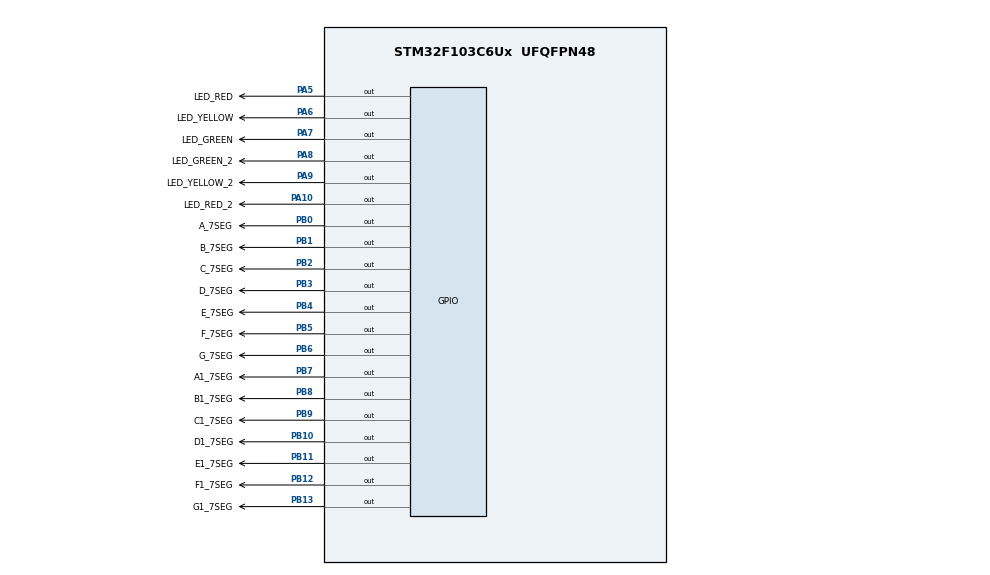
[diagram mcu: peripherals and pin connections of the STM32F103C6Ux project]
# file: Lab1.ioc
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Mcu.Family=STM32F1
Mcu.Name=STM32F103C6Ux
Mcu.Package=UFQFPN48
NVIC.PriorityGroup=NVIC_PRIORITYGROUP_4
PA10.GPIO_Label=LED_RED_2
PA10.Signal=GPIO_Output
PA5.GPIO_Label=LED_RED
PA5.Signal=GPIO_Output
PA6.GPIO_Label=LED_YELLOW
PA6.Signal=GPIO_Output
PA7.GPIO_Label=LED_GREEN
PA7.Signal=GPIO_Output
PA8.GPIO_Label=LED_GREEN_2
PA8.Signal=GPIO_Output
PA9.GPIO_Label=LED_YELLOW_2
PA9.Signal=GPIO_Output
PB0.GPIO_Label=A_7SEG
PB0.Signal=GPIO_Output
PB1.GPIO_Label=B_7SEG
PB1.Signal=GPIO_Output
PB10.GPIO_Label=D1_7SEG
PB10.Signal=GPIO_Output
PB11.GPIO_Label=E1_7SEG
PB11.Signal=GPIO_Output
PB12.GPIO_Label=F1_7SEG
PB12.Signal=GPIO_Output
PB13.GPIO_Label=G1_7SEG
PB13.Signal=GPIO_Output
PB2.GPIO_Label=C_7SEG
PB2.Signal=GPIO_Output
PB3.GPIO_Label=D_7SEG
PB3.Signal=GPIO_Output
PB4.GPIO_Label=E_7SEG
PB4.Signal=GPIO_Output
PB5.GPIO_Label=F_7SEG
PB5.Signal=GPIO_Output
PB6.GPIO_Label=G_7SEG
PB6.Signal=GPIO_Output
PB7.GPIO_Label=A1_7SEG
PB7.Signal=GPIO_Output
PB8.GPIO_Label=B1_7SEG
PB8.Signal=GPIO_Output
PB9.GPIO_Label=C1_7SEG
PB9.Signal=GPIO_Output
ProjectManager.HeapSize=0x200
ProjectManager.StackSize=0x400
ProjectManager.TargetToolchain=STM32CubeIDE
RCC.APB1Freq_Value=8000000
RCC.APB2Freq_Value=8000000
VP_SYS_VS_ND.Mode=No_Debug
board=custom

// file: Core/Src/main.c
/* USER CODE BEGIN Header */
/**
  ******************************************************************************
  * @file           : main.c
  * @brief          : Main program body
  ******************************************************************************
  * @attention
  *
  * <h2><center>&copy; Copyright (c) 2024 STMicroelectronics.
  * All rights reserved.</center></h2>
  *
  * This software component is licensed by ST under BSD 3-Clause license,
  * the "License"; You may not use this file except in compliance with the
  * License. You may obtain a copy of the License at:
  *                        opensource.org/licenses/BSD-3-Clause
  *
  ******************************************************************************
  */
/* USER CODE END Header */
#include "main.h"

/* USER CODE BEGIN PD */
#define RED 0
#define YELLOW 1
#define GREEN 2

#define RED_DURATION 9
#define YELLOW_DURATION 2
#define GREEN_DURATION 7
/* USER CODE END PD */

void display7SEG(int number);
void display7SEG_2(int number);
void setTrafficLight1(int state);
void setTrafficLight2(int state);
void updateTrafficLights(int counter1, int state1, int state2, int counter2);

void display7SEG(int number) {
    if (number < 0 || number > 9) return;

    switch (number)
        {
        case 0:
            HAL_GPIO_WritePin(GPIOB, G_7SEG_Pin, GPIO_PIN_SET);
            HAL_GPIO_WritePin(GPIOB, A_7SEG_Pin | B_7SEG_Pin | C_7SEG_Pin | D_7SEG_Pin | E_7SEG_Pin | F_7SEG_Pin, GPIO_PIN_RESET);
            break;
        case 1:
            HAL_GPIO_WritePin(GPIOB, B_7SEG_Pin | C_7SEG_Pin, GPIO_PIN_RESET);
            HAL_GPIO_WritePin(GPIOB, A_7SEG_Pin | D_7SEG_Pin | E_7SEG_Pin | F_7SEG_Pin | G_7SEG_Pin, GPIO_PIN_SET);
            break;
        case 2:
            HAL_GPIO_WritePin(GPIOB, F_7SEG_Pin | C_7SEG_Pin, GPIO_PIN_SET);
            HAL_GPIO_WritePin(GPIOB, A_7SEG_Pin | B_7SEG_Pin | D_7SEG_Pin | E_7SEG_Pin | G_7SEG_Pin, GPIO_PIN_RESET);
            break;
        case 3:
            HAL_GPIO_WritePin(GPIOB, F_7SEG_Pin | E_7SEG_Pin, GPIO_PIN_SET);
            HAL_GPIO_WritePin(GPIOB, A_7SEG_Pin | B_7SEG_Pin | C_7SEG_Pin | D_7SEG_Pin | G_7SEG_Pin, GPIO_PIN_RESET);
            break;
        case 4:
            HAL_GPIO_WritePin(GPIOB, A_7SEG_Pin | E_7SEG_Pin | D_7SEG_Pin, GPIO_PIN_SET);
            HAL_GPIO_WritePin(GPIOB, B_7SEG_Pin | C_7SEG_Pin | F_7SEG_Pin | G_7SEG_Pin, GPIO_PIN_RESET);
            break;
        case 5:
            HAL_GPIO_WritePin(GPIOB, B_7SEG_Pin | E_7SEG_Pin, GPIO_PIN_SET);
            HAL_GPIO_WritePin(GPIOB, A_7SEG_Pin | C_7SEG_Pin | D_7SEG_Pin | F_7SEG_Pin | G_7SEG_Pin, GPIO_PIN_RESET);
            break;
        case 6:
            HAL_GPIO_WritePin(GPIOB, B_7SEG_Pin, GPIO_PIN_SET);
            HAL_GPIO_WritePin(GPIOB, A_7SEG_Pin | C_7SEG_Pin | D_7SEG_Pin | E_7SEG_Pin | F_7SEG_Pin | G_7SEG_Pin, GPIO_PIN_RESET);
            break;
        case 7:
            HAL_GPIO_WritePin(GPIOB, F_7SEG_Pin | G_7SEG_Pin | E_7SEG_Pin | D_7SEG_Pin, GPIO_PIN_SET);
            HAL_GPIO_WritePin(GPIOB, A_7SEG_Pin | B_7SEG_Pin | C_7SEG_Pin, GPIO_PIN_RESET);
            break;
        case 8:
            HAL_GPIO_WritePin(GPIOB, A_7SEG_Pin | B_7SEG_Pin | C_7SEG_Pin | D_7SEG_Pin | E_7SEG_Pin | F_7SEG_Pin | G_7SEG_Pin, GPIO_PIN_RESET);
            break;
        case 9:
            HAL_GPIO_WritePin(GPIOB, E_7SEG_Pin, GPIO_PIN_SET);
            HAL_GPIO_WritePin(GPIOB, A_7SEG_Pin | B_7SEG_Pin | C_7SEG_Pin | D_7SEG_Pin | F_7SEG_Pin | G_7SEG_Pin, GPIO_PIN_RESET);
            break;
        default:
            break;
        }
}

void display7SEG_2(int number) {
    if (number < 0 || number > 9) return;

    switch (number)
            {
            case 0:
                HAL_GPIO_WritePin(GPIOB, G1_7SEG_Pin, GPIO_PIN_SET);
                HAL_GPIO_WritePin(GPIOB, A1_7SEG_Pin | B1_7SEG_Pin | C1_7SEG_Pin | D1_7SEG_Pin | E1_7SEG_Pin | F1_7SEG_Pin, GPIO_PIN_RESET);
                break;
            case 1:
                HAL_GPIO_WritePin(GPIOB, B1_7SEG_Pin | C1_7SEG_Pin, GPIO_PIN_RESET);
                HAL_GPIO_WritePin(GPIOB, A1_7SEG_Pin | D1_7SEG_Pin | E1_7SEG_Pin | F1_7SEG_Pin | G1_7SEG_Pin, GPIO_PIN_SET);
                break;
            case 2:
                HAL_GPIO_WritePin(GPIOB, C1_7SEG_Pin | F1_7SEG_Pin, GPIO_PIN_SET);
                HAL_GPIO_WritePin(GPIOB, A1_7SEG_Pin | B1_7SEG_Pin | D1_7SEG_Pin | E1_7SEG_Pin | G1_7SEG_Pin, GPIO_PIN_RESET);
                break;
            case 3:
                HAL_GPIO_WritePin(GPIOB, E1_7SEG_Pin | F1_7SEG_Pin, GPIO_PIN_SET);
                HAL_GPIO_WritePin(GPIOB, A1_7SEG_Pin | B1_7SEG_Pin | C1_7SEG_Pin | D1_7SEG_Pin | G1_7SEG_Pin, GPIO_PIN_RESET);
                break;
            case 4:
                HAL_GPIO_WritePin(GPIOB, A1_7SEG_Pin | D1_7SEG_Pin | E1_7SEG_Pin, GPIO_PIN_SET);
                HAL_GPIO_WritePin(GPIOB, B1_7SEG_Pin | C1_7SEG_Pin | F1_7SEG_Pin | G1_7SEG_Pin, GPIO_PIN_RESET);
                break;
            case 5:
                HAL_GPIO_WritePin(GPIOB, B1_7SEG_Pin | E1_7SEG_Pin, GPIO_PIN_SET);
                HAL_GPIO_WritePin(GPIOB, A1_7SEG_Pin | C1_7SEG_Pin | D1_7SEG_Pin | F1_7SEG_Pin | G1_7SEG_Pin, GPIO_PIN_RESET);
                break;
            case 6:
                HAL_GPIO_WritePin(GPIOB, B1_7SEG_Pin, GPIO_PIN_SET);
                HAL_GPIO_WritePin(GPIOB, A1_7SEG_Pin | C1_7SEG_Pin | D1_7SEG_Pin | E1_7SEG_Pin | F1_7SEG_Pin | G1_7SEG_Pin, GPIO_PIN_RESET);
                break;
            case 7:
                HAL_GPIO_WritePin(GPIOB, D1_7SEG_Pin | E1_7SEG_Pin | F1_7SEG_Pin | G1_7SEG_Pin, GPIO_PIN_SET);
                HAL_GPIO_WritePin(GPIOB, A1_7SEG_Pin | B1_7SEG_Pin | C1_7SEG_Pin, GPIO_PIN_RESET);
                break;
            case 8:
                HAL_GPIO_WritePin(GPIOB, A1_7SEG_Pin | B1_7SEG_Pin | C1_7SEG_Pin | D1_7SEG_Pin | E1_7SEG_Pin | F1_7SEG_Pin | G1_7SEG_Pin, GPIO_PIN_RESET);
                break;
            case 9:
                HAL_GPIO_WritePin(GPIOB, E1_7SEG_Pin, GPIO_PIN_SET);
                HAL_GPIO_WritePin(GPIOB, A1_7SEG_Pin | B1_7SEG_Pin | C1_7SEG_Pin | D1_7SEG_Pin | F1_7SEG_Pin | G1_7SEG_Pin, GPIO_PIN_RESET);
                break;
            default:
                break;
            }
}

void setTrafficLight1(int state) {
    switch (state) {
        case RED:
            HAL_GPIO_WritePin(GPIOA, LED_RED_Pin, GPIO_PIN_RESET);
            HAL_GPIO_WritePin(GPIOA, LED_YELLOW_Pin | LED_GREEN_Pin, GPIO_PIN_SET);
            break;
        case YELLOW:
            HAL_GPIO_WritePin(GPIOA, LED_YELLOW_Pin, GPIO_PIN_RESET);
            HAL_GPIO_WritePin(GPIOA, LED_RED_Pin | LED_GREEN_Pin, GPIO_PIN_SET);
            break;
        case GREEN:
            HAL_GPIO_WritePin(GPIOA, LED_GREEN_Pin, GPIO_PIN_RESET);
            HAL_GPIO_WritePin(GPIOA, LED_RED_Pin | LED_YELLOW_Pin, GPIO_PIN_SET);
            break;
    }
}

void setTrafficLight2(int state) {
    switch (state) {
        case RED:
            HAL_GPIO_WritePin(GPIOA, LED_RED_2_Pin, GPIO_PIN_RESET);
            HAL_GPIO_WritePin(GPIOA, LED_YELLOW_2_Pin | LED_GREEN_2_Pin, GPIO_PIN_SET);
            break;
        case YELLOW:
            HAL_GPIO_WritePin(GPIOA, LED_YELLOW_2_Pin, GPIO_PIN_RESET);
            HAL_GPIO_WritePin(GPIOA, LED_RED_2_Pin | LED_GREEN_2_Pin, GPIO_PIN_SET);
            break;
        case GREEN:
            HAL_GPIO_WritePin(GPIOA, LED_GREEN_2_Pin, GPIO_PIN_RESET);
            HAL_GPIO_WritePin(GPIOA, LED_RED_2_Pin | LED_YELLOW_2_Pin, GPIO_PIN_SET);
            break;
    }
}

void updateTrafficLights(int counter1, int state1, int counter2, int state2) {
    // Update Traffic Light 1
    if (state1 == RED && state2 == GREEN) {
        if (counter1 >= RED_DURATION) {
            setTrafficLight1(RED);
        }
        display7SEG(counter1);
    } else if (state1 == GREEN && state2 == RED) {
        if (counter1 >= GREEN_DURATION) {
            setTrafficLight1(GREEN);
        }
        display7SEG(counter1);
    } else if (state1 == YELLOW && state2 == RED) {
        if (counter1 >= YELLOW_DURATION) {
            setTrafficLight1(YELLOW);
        }
        display7SEG(counter1);
        display7SEG_2(counter2);
    }

    // Update Traffic Light 2 (Opposite of Traffic Light 1)
    if (state2 == RED && state1 == GREEN) {
        if (counter2 >= RED_DURATION) {
            setTrafficLight2(RED);
        }
        display7SEG_2(counter2);
    } else if (state2 == GREEN && state1 == RED) {
        if (counter2 >= GREEN_DURATION) {
            setTrafficLight2(GREEN);
        }
        display7SEG_2(counter2);
    } else if (state2 == YELLOW && state1 == RED) {
        if (counter2 >= YELLOW_DURATION) {
            setTrafficLight2(YELLOW);
        }
        display7SEG_2(counter2);
        display7SEG(counter1);
    }
}

void SystemClock_Config(void);
static void MX_GPIO_Init(void);

int main(void)
{

  /* MCU Configuration--------------------------------------------------------*/

  /* Reset of all peripherals, Initializes the Flash interface and the Systick. */
  HAL_Init();

  /* Configure the system clock */
  SystemClock_Config();

  /* Initialize all configured peripherals */
  MX_GPIO_Init();

  /* Infinite loop */
  /* USER CODE BEGIN WHILE */
  int counter1 = RED_DURATION;
  int state1 = RED;
  int counter2 = GREEN_DURATION;
  int state2 = GREEN;
  while (1)
  {
    /* USER CODE END WHILE */

    /* USER CODE BEGIN 3 */
	  // Update both traffic lights
	  updateTrafficLights(counter1, state1, counter2, state2);

	  // Decrease counters
	  counter1--;
	  counter2--;

	  // Check for state transitions for both lights
	  if (counter1 == 0) {
		  if (state1 == RED) {
			  state1 = GREEN;
			  counter1 = GREEN_DURATION;
		  } else if (state1 == GREEN) {
			  state1 = YELLOW;
			  counter1 = YELLOW_DURATION;
		  } else if (state1 == YELLOW) {
			  state1 = RED;
			  counter1 = RED_DURATION;
		  }
	  }

	  if (counter2 == 0) {
		  if (state2 == GREEN) {
			  state2 = YELLOW;
			  counter2 = YELLOW_DURATION;
		  } else if (state2 == YELLOW) {
			  state2 = RED;
			  counter2 = RED_DURATION;
		  } else if (state2 == RED) {
			  state2 = GREEN;
			  counter2 = GREEN_DURATION;
		  }
	  }

	  // Delay for 1 second between updates
	  HAL_Delay(500);
  /* USER CODE END 3 */
  }
}

void SystemClock_Config(void)
{
  RCC_OscInitTypeDef RCC_OscInitStruct = {0};
  RCC_ClkInitTypeDef RCC_ClkInitStruct = {0};

  /** Initializes the RCC Oscillators according to the specified parameters
  * in the RCC_OscInitTypeDef structure.
  */
  RCC_OscInitStruct.OscillatorType = RCC_OSCILLATORTYPE_HSI;
  RCC_OscInitStruct.HSIState = RCC_HSI_ON;
  RCC_OscInitStruct.HSICalibrationValue = RCC_HSICALIBRATION_DEFAULT;
  RCC_OscInitStruct.PLL.PLLState = RCC_PLL_NONE;
  if (HAL_RCC_OscConfig(&RCC_OscInitStruct) != HAL_OK)
  {
    Error_Handler();
  }
  /** Initializes the CPU, AHB and APB buses clocks
  */
  RCC_ClkInitStruct.ClockType = RCC_CLOCKTYPE_HCLK|RCC_CLOCKTYPE_SYSCLK
                              |RCC_CLOCKTYPE_PCLK1|RCC_CLOCKTYPE_PCLK2;
  RCC_ClkInitStruct.SYSCLKSource = RCC_SYSCLKSOURCE_HSI;
  RCC_ClkInitStruct.AHBCLKDivider = RCC_SYSCLK_DIV1;
  RCC_ClkInitStruct.APB1CLKDivider = RCC_HCLK_DIV1;
  RCC_ClkInitStruct.APB2CLKDivider = RCC_HCLK_DIV1;

  if (HAL_RCC_ClockConfig(&RCC_ClkInitStruct, FLASH_LATENCY_0) != HAL_OK)
  {
    Error_Handler();
  }
}

static void MX_GPIO_Init(void)
{
  GPIO_InitTypeDef GPIO_InitStruct = {0};

  /* GPIO Ports Clock Enable */
  __HAL_RCC_GPIOA_CLK_ENABLE();
  __HAL_RCC_GPIOB_CLK_ENABLE();

  /*Configure GPIO pin Output Level */
  HAL_GPIO_WritePin(GPIOA, LED_RED_Pin|LED_YELLOW_Pin|LED_GREEN_Pin|LED_GREEN_2_Pin
                          |LED_YELLOW_2_Pin|LED_RED_2_Pin, GPIO_PIN_RESET);

  /*Configure GPIO pin Output Level */
  HAL_GPIO_WritePin(GPIOB, A_7SEG_Pin|B_7SEG_Pin|C_7SEG_Pin|D1_7SEG_Pin
                          |E1_7SEG_Pin|F1_7SEG_Pin|G1_7SEG_Pin|D_7SEG_Pin
                          |E_7SEG_Pin|F_7SEG_Pin|G_7SEG_Pin|A1_7SEG_Pin
                          |B1_7SEG_Pin|C1_7SEG_Pin, GPIO_PIN_RESET);

  /*Configure GPIO pins : LED_RED_Pin LED_YELLOW_Pin LED_GREEN_Pin LED_GREEN_2_Pin
                           LED_YELLOW_2_Pin LED_RED_2_Pin */
  GPIO_InitStruct.Pin = LED_RED_Pin|LED_YELLOW_Pin|LED_GREEN_Pin|LED_GREEN_2_Pin
                          |LED_YELLOW_2_Pin|LED_RED_2_Pin;
  GPIO_InitStruct.Mode = GPIO_MODE_OUTPUT_PP;
  GPIO_InitStruct.Pull = GPIO_NOPULL;
  GPIO_InitStruct.Speed = GPIO_SPEED_FREQ_LOW;
  HAL_GPIO_Init(GPIOA, &GPIO_InitStruct);

  /*Configure GPIO pins : A_7SEG_Pin B_7SEG_Pin C_7SEG_Pin D1_7SEG_Pin
                           E1_7SEG_Pin F1_7SEG_Pin G1_7SEG_Pin D_7SEG_Pin
                           E_7SEG_Pin F_7SEG_Pin G_7SEG_Pin A1_7SEG_Pin
                           B1_7SEG_Pin C1_7SEG_Pin */
  GPIO_InitStruct.Pin = A_7SEG_Pin|B_7SEG_Pin|C_7SEG_Pin|D1_7SEG_Pin
                          |E1_7SEG_Pin|F1_7SEG_Pin|G1_7SEG_Pin|D_7SEG_Pin
                          |E_7SEG_Pin|F_7SEG_Pin|G_7SEG_Pin|A1_7SEG_Pin
                          |B1_7SEG_Pin|C1_7SEG_Pin;
  GPIO_InitStruct.Mode = GPIO_MODE_OUTPUT_PP;
  GPIO_InitStruct.Pull = GPIO_NOPULL;
  GPIO_InitStruct.Speed = GPIO_SPEED_FREQ_LOW;
  HAL_GPIO_Init(GPIOB, &GPIO_InitStruct);

}

void Error_Handler(void)
{
  __disable_irq();
  while (1)
  {
  }
}

/************************ (C) COPYRIGHT STMicroelectronics *****END OF FILE****/
